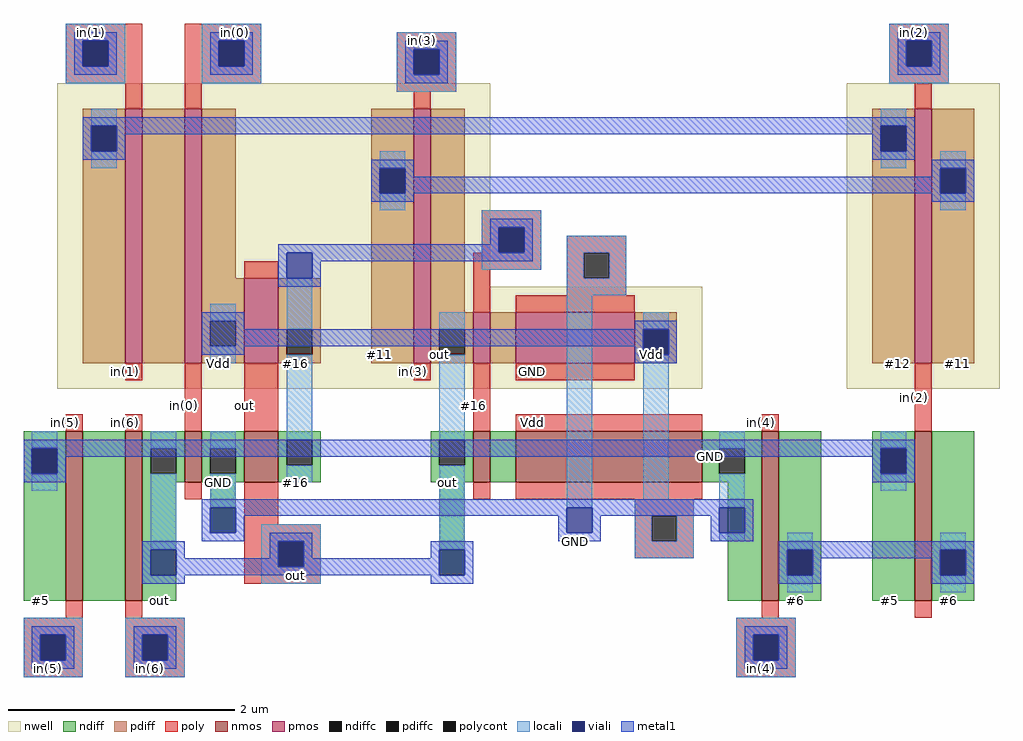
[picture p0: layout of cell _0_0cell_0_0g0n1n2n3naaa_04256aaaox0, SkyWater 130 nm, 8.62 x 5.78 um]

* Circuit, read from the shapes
.subckt _0_0cell_0_0g0n1n2n3naaa_04256aaaox0 GND Vdd in(6) in(5) in(4) in(3) in(2) in(1) out in(0)
XM1 n1 in(5) #5 VSUBS sky130_fd_pr__nfet_01v8 w=1.5 l=0.15
XM2 out in(6) n1 VSUBS sky130_fd_pr__nfet_01v8 w=1.5 l=0.15
XM3 GND in(0) out VSUBS sky130_fd_pr__nfet_01v8 w=0.45 l=0.15
XM4 #16 out GND VSUBS sky130_fd_pr__nfet_01v8 w=0.45 l=0.3
XM5 n2 #16 out VSUBS sky130_fd_pr__nfet_01v8 w=0.45 l=0.15
XM6 GND Vdd n2 VSUBS sky130_fd_pr__nfet_01v8 w=0.45 l=1.65
XM7 #6 in(4) GND VSUBS sky130_fd_pr__nfet_01v8 w=1.5 l=0.15
XM8 #6 in(2) #5 VSUBS sky130_fd_pr__nfet_01v8 w=1.5 l=0.15
XM9 n3 in(1) #12 n4 sky130_fd_pr__pfet_01v8 w=2.25 l=0.15
XM10 Vdd in(0) n3 n4 sky130_fd_pr__pfet_01v8 w=2.25 l=0.15
XM11 #16 out Vdd n4 sky130_fd_pr__pfet_01v8 w=0.75 l=0.3
XM12 out in(3) #11 n4 sky130_fd_pr__pfet_01v8 w=2.25 l=0.15
XM13 n5 #16 out n4 sky130_fd_pr__pfet_01v8 w=0.45 l=0.15
XM14 Vdd GND n5 n4 sky130_fd_pr__pfet_01v8 w=0.45 l=1.05
XM15 #11 in(2) #12 n6 sky130_fd_pr__pfet_01v8 w=2.25 l=0.15
.ends

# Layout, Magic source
magic
tech sky130A
magscale 1 2
<< nwell >>
rect 180 615 945 975
rect 180 435 1320 615
rect 1575 435 1845 975
<< nmos >>
rect 195 60 225 360
rect 300 60 330 360
rect 405 270 435 360
rect 510 270 570 360
rect 915 270 945 360
rect 990 270 1320 360
rect 1425 60 1455 360
rect 1695 60 1725 360
<< pmos >>
rect 300 480 330 930
rect 405 480 435 930
rect 510 480 570 630
rect 810 480 840 930
rect 915 480 945 570
rect 990 480 1200 570
rect 1695 480 1725 930
<< ndiff >>
rect 120 330 195 360
rect 120 285 135 330
rect 180 285 195 330
rect 120 60 195 285
rect 225 60 300 360
rect 330 330 405 360
rect 330 285 345 330
rect 390 285 405 330
rect 330 270 405 285
rect 435 330 510 360
rect 435 285 450 330
rect 495 285 510 330
rect 435 270 510 285
rect 570 345 645 360
rect 570 300 585 345
rect 630 300 645 345
rect 570 270 645 300
rect 840 345 915 360
rect 840 300 855 345
rect 900 300 915 345
rect 840 270 915 300
rect 945 270 990 360
rect 1320 330 1425 360
rect 1320 285 1350 330
rect 1395 285 1425 330
rect 1320 270 1425 285
rect 330 60 390 270
rect 450 180 495 270
rect 855 105 900 270
rect 1365 60 1425 270
rect 1455 150 1530 360
rect 1455 105 1470 150
rect 1515 105 1530 150
rect 1455 60 1530 105
rect 1620 330 1695 360
rect 1620 285 1635 330
rect 1680 285 1695 330
rect 1620 60 1695 285
rect 1725 150 1800 360
rect 1725 105 1740 150
rect 1785 105 1800 150
rect 1725 60 1800 105
<< pdiff >>
rect 225 900 300 930
rect 225 855 240 900
rect 285 855 300 900
rect 225 480 300 855
rect 330 480 405 930
rect 435 630 495 930
rect 735 825 810 930
rect 735 780 750 825
rect 795 780 810 825
rect 435 555 510 630
rect 435 510 450 555
rect 495 510 510 555
rect 435 480 510 510
rect 570 540 645 630
rect 570 495 585 540
rect 630 495 645 540
rect 570 480 645 495
rect 735 480 810 780
rect 840 570 900 930
rect 1620 900 1695 930
rect 1620 855 1635 900
rect 1680 855 1695 900
rect 840 540 915 570
rect 840 495 855 540
rect 900 495 915 540
rect 840 480 915 495
rect 945 480 990 570
rect 1200 540 1275 570
rect 1200 495 1215 540
rect 1260 495 1275 540
rect 1200 480 1275 495
rect 1620 480 1695 855
rect 1725 825 1800 930
rect 1725 780 1740 825
rect 1785 780 1800 825
rect 1725 480 1800 780
<< ndiffc >>
rect 135 285 180 330
rect 345 285 390 330
rect 450 285 495 330
rect 585 300 630 345
rect 855 300 900 345
rect 1350 285 1395 330
rect 1470 105 1515 150
rect 1635 285 1680 330
rect 1740 105 1785 150
<< pdiffc >>
rect 240 855 285 900
rect 750 780 795 825
rect 450 510 495 555
rect 585 495 630 540
rect 1635 855 1680 900
rect 855 495 900 540
rect 1215 495 1260 540
rect 1740 780 1785 825
<< poly >>
rect 195 1050 330 1080
rect 195 1005 225 1050
rect 270 1005 330 1050
rect 195 975 330 1005
rect 300 930 330 975
rect 405 1050 540 1080
rect 405 1005 465 1050
rect 510 1005 540 1050
rect 405 975 540 1005
rect 780 1035 885 1065
rect 780 990 810 1035
rect 855 990 885 1035
rect 405 930 435 975
rect 780 960 885 990
rect 1650 1050 1755 1080
rect 1650 1005 1680 1050
rect 1725 1005 1755 1050
rect 1650 975 1755 1005
rect 810 930 840 960
rect 1695 930 1725 975
rect 510 630 570 660
rect 930 720 1035 750
rect 930 675 960 720
rect 1005 675 1035 720
rect 915 645 1035 675
rect 1080 675 1185 705
rect 915 570 945 645
rect 1080 630 1110 675
rect 1155 630 1185 675
rect 1080 600 1185 630
rect 990 570 1200 600
rect 300 450 330 480
rect 195 360 225 390
rect 300 360 330 390
rect 405 360 435 480
rect 510 360 570 480
rect 810 450 840 480
rect 915 360 945 480
rect 990 450 1200 480
rect 990 360 1320 390
rect 1425 360 1455 390
rect 1695 360 1725 480
rect 405 240 435 270
rect 510 195 570 270
rect 510 165 645 195
rect 510 120 570 165
rect 615 120 645 165
rect 510 90 645 120
rect 915 240 945 270
rect 990 240 1320 270
rect 1200 210 1305 240
rect 1200 165 1230 210
rect 1275 165 1305 210
rect 1200 135 1305 165
rect 195 30 225 60
rect 120 0 225 30
rect 120 -45 150 0
rect 195 -45 225 0
rect 120 -75 225 -45
rect 300 30 330 60
rect 1425 30 1455 60
rect 1695 30 1725 60
rect 300 0 405 30
rect 300 -45 330 0
rect 375 -45 405 0
rect 300 -75 405 -45
rect 1380 0 1485 30
rect 1380 -45 1410 0
rect 1455 -45 1485 0
rect 1380 -75 1485 -45
<< polycont >>
rect 225 1005 270 1050
rect 465 1005 510 1050
rect 810 990 855 1035
rect 1680 1005 1725 1050
rect 960 675 1005 720
rect 1110 630 1155 675
rect 570 120 615 165
rect 1230 165 1275 210
rect 150 -45 195 0
rect 330 -45 375 0
rect 1410 -45 1455 0
<< locali >>
rect 195 1050 300 1080
rect 195 1005 225 1050
rect 270 1005 300 1050
rect 195 975 300 1005
rect 435 1050 540 1080
rect 435 1005 465 1050
rect 510 1005 540 1050
rect 435 975 540 1005
rect 780 1035 885 1065
rect 780 990 810 1035
rect 855 990 885 1035
rect 780 960 885 990
rect 1650 1050 1755 1080
rect 1650 1005 1680 1050
rect 1725 1005 1755 1050
rect 1650 975 1755 1005
rect 240 900 285 930
rect 1635 900 1680 930
rect 240 825 285 855
rect 750 825 795 855
rect 1635 825 1680 855
rect 1740 825 1785 855
rect 750 750 795 780
rect 1740 750 1785 780
rect 930 720 1035 750
rect 930 675 960 720
rect 1005 675 1035 720
rect 930 645 1035 675
rect 1080 675 1185 705
rect 450 555 495 585
rect 450 480 495 510
rect 585 540 630 630
rect 1080 630 1110 675
rect 1155 630 1185 675
rect 1080 600 1185 630
rect 135 330 180 360
rect 135 255 180 285
rect 345 330 390 360
rect 345 150 390 285
rect 450 330 495 360
rect 450 225 495 285
rect 585 345 630 495
rect 585 270 630 300
rect 855 540 900 570
rect 855 345 900 495
rect 540 165 645 195
rect 540 120 570 165
rect 615 120 645 165
rect 540 90 645 120
rect 855 150 900 300
rect 1080 225 1125 600
rect 1215 540 1260 570
rect 1215 240 1260 495
rect 1350 330 1395 360
rect 1200 210 1305 240
rect 1200 165 1230 210
rect 1275 165 1305 210
rect 1350 225 1395 285
rect 1635 330 1680 360
rect 1635 255 1680 285
rect 1350 165 1395 180
rect 1200 135 1305 165
rect 1470 150 1515 180
rect 1470 75 1515 105
rect 1740 150 1785 180
rect 1740 75 1785 105
rect 120 0 225 30
rect 120 -45 150 0
rect 195 -45 225 0
rect 120 -75 225 -45
rect 300 0 405 30
rect 300 -45 330 0
rect 375 -45 405 0
rect 300 -75 405 -45
rect 1380 0 1485 30
rect 1380 -45 1410 0
rect 1455 -45 1485 0
rect 1380 -75 1485 -45
<< viali >>
rect 225 1005 270 1050
rect 465 1005 510 1050
rect 810 990 855 1035
rect 1680 1005 1725 1050
rect 240 855 285 900
rect 1635 855 1680 900
rect 750 780 795 825
rect 1740 780 1785 825
rect 960 675 1005 720
rect 585 630 630 675
rect 135 285 180 330
rect 450 180 495 225
rect 345 105 390 150
rect 570 120 615 165
rect 1215 495 1260 540
rect 1080 180 1125 225
rect 855 105 900 150
rect 1635 285 1680 330
rect 1350 180 1395 225
rect 1470 105 1515 150
rect 1740 105 1785 150
rect 150 -45 195 0
rect 330 -45 375 0
rect 1410 -45 1455 0
<< metal1 >>
rect 210 1050 285 1065
rect 210 1005 225 1050
rect 270 1005 285 1050
rect 210 990 285 1005
rect 450 1050 525 1065
rect 1665 1050 1740 1065
rect 450 1005 465 1050
rect 510 1005 525 1050
rect 450 990 525 1005
rect 795 1035 870 1050
rect 795 990 810 1035
rect 855 990 870 1035
rect 1665 1005 1680 1050
rect 1725 1005 1740 1050
rect 1665 990 1740 1005
rect 795 975 870 990
rect 225 900 1695 915
rect 225 855 240 900
rect 285 885 1635 900
rect 285 855 300 885
rect 225 840 300 855
rect 1620 855 1635 885
rect 1680 855 1695 900
rect 1620 840 1695 855
rect 735 825 810 840
rect 735 780 750 825
rect 795 810 810 825
rect 1725 825 1800 840
rect 1725 810 1740 825
rect 795 780 1740 810
rect 1785 780 1800 825
rect 735 765 810 780
rect 1725 765 1800 780
rect 945 720 1020 735
rect 945 690 960 720
rect 570 675 960 690
rect 1005 675 1020 720
rect 570 630 585 675
rect 630 660 1020 675
rect 630 630 645 660
rect 570 615 645 630
rect 435 540 510 570
rect 1200 540 1275 555
rect 435 510 1215 540
rect 435 495 510 510
rect 1200 495 1215 510
rect 1260 495 1275 540
rect 1200 480 1275 495
rect 120 330 1695 345
rect 120 285 135 330
rect 180 315 1635 330
rect 180 285 195 315
rect 120 270 195 285
rect 1620 285 1635 315
rect 1680 285 1695 330
rect 1620 270 1695 285
rect 435 225 1410 240
rect 435 180 450 225
rect 495 210 1080 225
rect 495 180 510 210
rect 1065 180 1080 210
rect 1125 210 1350 225
rect 1125 180 1140 210
rect 435 165 510 180
rect 555 165 630 180
rect 1065 165 1140 180
rect 1335 180 1350 210
rect 1395 180 1410 225
rect 1335 165 1410 180
rect 330 150 405 165
rect 330 105 345 150
rect 390 135 405 150
rect 555 135 570 165
rect 390 120 570 135
rect 615 135 630 165
rect 840 150 915 165
rect 840 135 855 150
rect 615 120 855 135
rect 390 105 855 120
rect 900 105 915 150
rect 330 90 405 105
rect 840 90 915 105
rect 1455 150 1800 165
rect 1455 105 1470 150
rect 1515 135 1740 150
rect 1515 105 1530 135
rect 1455 90 1530 105
rect 1725 105 1740 135
rect 1785 105 1800 150
rect 1725 90 1800 105
rect 135 0 210 15
rect 135 -45 150 0
rect 195 -45 210 0
rect 135 -60 210 -45
rect 315 0 390 15
rect 315 -45 330 0
rect 375 -45 390 0
rect 315 -60 390 -45
rect 1395 0 1470 15
rect 1395 -45 1410 0
rect 1455 -45 1470 0
rect 1395 -60 1470 -45
<< labels >>
flabel ndiff 360 60 360 60 1 FreeSerif 120 0 0 0 out
flabel ndiff 1485 60 1485 60 1 FreeSerif 120 0 0 0 #6
flabel ndiff 1650 60 1650 60 1 FreeSerif 120 0 0 0 #5
flabel ndiff 1755 60 1755 60 1 FreeSerif 120 0 0 0 #6
flabel ndiff 465 270 465 270 1 FreeSerif 120 0 0 0 GND
flabel ndiff 600 270 600 270 1 FreeSerif 120 0 0 0 #16
flabel poly 510 405 510 405 3 FreeSerif 120 0 0 0 out
flabel poly 405 405 405 405 3 FreeSerif 120 0 0 0 in(0)
flabel poly 195 375 195 375 3 FreeSerif 120 0 0 0 in(5)
flabel poly 300 375 300 375 3 FreeSerif 120 0 0 0 in(6)
flabel ndiff 870 270 870 270 1 FreeSerif 120 0 0 0 out
flabel poly 1020 375 1020 375 3 FreeSerif 120 0 0 0 Vdd
flabel poly 915 405 915 405 3 FreeSerif 120 0 0 0 #16
flabel poly 810 465 810 465 3 FreeSerif 120 0 0 0 in(3)
flabel poly 1020 465 1020 465 3 FreeSerif 120 0 0 0 GND
flabel ndiff 1335 315 1335 315 3 FreeSerif 120 0 0 0 GND
flabel poly 1695 420 1695 420 3 FreeSerif 120 0 0 0 in(2)
flabel poly 1425 375 1425 375 3 FreeSerif 120 0 0 0 in(4)
flabel pdiff 1770 480 1770 480 1 FreeSerif 120 0 0 0 #11
flabel pdiff 1665 480 1665 480 1 FreeSerif 120 0 0 0 #12
flabel pdiff 1230 495 1230 495 3 FreeSerif 120 0 0 0 Vdd
flabel pdiff 855 495 855 495 1 FreeSerif 120 0 0 0 out
flabel pdiff 750 495 750 495 1 FreeSerif 120 0 0 0 #11
flabel pdiff 600 480 600 480 1 FreeSerif 120 0 0 0 #16
flabel pdiff 465 480 465 480 1 FreeSerif 120 0 0 0 Vdd
flabel poly 300 465 300 465 3 FreeSerif 120 0 0 0 in(1)
flabel pdiff 255 480 255 480 1 FreeSerif 120 0 0 0 #12
flabel ndiff 150 60 150 60 1 FreeSerif 120 0 0 0 #5
flabel metal1 1095 165 1095 165 5 FreeSerif 120 0 0 0 GND
port 1 s
flabel metal1 1275 510 1275 510 3 FreeSerif 120 0 0 0 Vdd
port 2 e
flabel metal1 165 -60 165 -60 5 FreeSerif 120 0 0 0 in(5)
port 4 s
flabel metal1 345 -60 345 -60 5 FreeSerif 120 0 0 0 in(6)
port 3 s
flabel metal1 1425 -60 1425 -60 5 FreeSerif 120 0 0 0 in(4)
port 5 s
flabel metal1 1695 1065 1695 1065 1 FreeSerif 120 0 0 0 in(2)
port 7 n
flabel metal1 825 1050 825 1050 1 FreeSerif 120 0 0 0 in(3)
port 6 n
flabel metal1 495 1065 495 1065 1 FreeSerif 120 0 0 0 in(0)
port 10 n
flabel metal1 240 1065 240 1065 1 FreeSerif 120 0 0 0 in(1)
port 8 n
flabel metal1 600 105 600 105 5 FreeSerif 120 0 0 0 out
port 9 s
<< end >>
